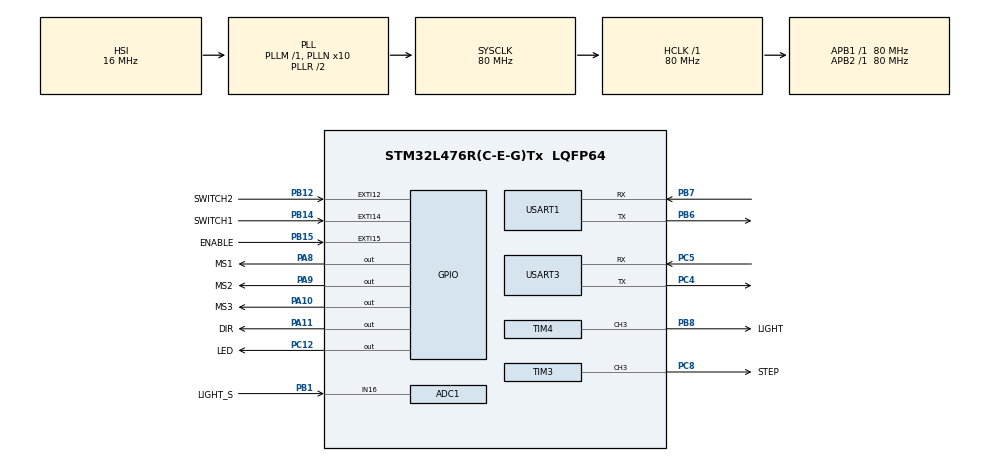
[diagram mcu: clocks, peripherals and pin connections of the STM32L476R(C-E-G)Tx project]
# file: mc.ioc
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ADC1.Channel-2\#ChannelRegularConversion=ADC_CHANNEL_16
ADC1.DMAContinuousRequests=ENABLE
ADC1.NbrOfConversionFlag=1
ADC1.OffsetNumber-2\#ChannelRegularConversion=ADC_OFFSET_NONE
ADC1.Rank-2\#ChannelRegularConversion=1
ADC1.SamplingTime-2\#ChannelRegularConversion=ADC_SAMPLETIME_2CYCLES_5
ADC1.master=1
Dma.ADC1.0.Direction=DMA_PERIPH_TO_MEMORY
Dma.ADC1.0.Instance=DMA1_Channel1
Dma.ADC1.0.MemDataAlignment=DMA_MDATAALIGN_HALFWORD
Dma.ADC1.0.MemInc=DMA_MINC_ENABLE
Dma.ADC1.0.Mode=DMA_CIRCULAR
Dma.ADC1.0.PeriphDataAlignment=DMA_PDATAALIGN_HALFWORD
Dma.ADC1.0.PeriphInc=DMA_PINC_DISABLE
Dma.ADC1.0.Priority=DMA_PRIORITY_LOW
Dma.Request0=ADC1
Mcu.Family=STM32L4
Mcu.Name=STM32L476R(C-E-G)Tx
Mcu.Package=LQFP64
NVIC.DMA1_Channel1_IRQn=true\:0\:0\:false\:false\:true\:false\:true\:true
NVIC.EXTI15_10_IRQn=true\:0\:0\:false\:false\:true\:true\:true\:true
NVIC.PriorityGroup=NVIC_PRIORITYGROUP_4
NVIC.TIM3_IRQn=true\:0\:0\:false\:false\:true\:true\:true\:true
NVIC.TIM5_IRQn=true\:0\:0\:false\:false\:true\:true\:true\:true
NVIC.TIM7_IRQn=true\:0\:0\:false\:false\:true\:true\:true\:true
NVIC.USART1_IRQn=true\:0\:0\:false\:false\:true\:true\:true\:true
PA10.GPIO_Label=MS3
PA10.Signal=GPIO_Output
PA11.GPIO_Label=DIR
PA11.Signal=GPIO_Output
PA13\ (JTMS-SWDIO).GPIO_Label=TMS
PA13\ (JTMS-SWDIO).Mode=Serial_Wire
PA13\ (JTMS-SWDIO).Signal=SYS_JTMS-SWDIO
PA14\ (JTCK-SWCLK).GPIO_Label=TCK
PA14\ (JTCK-SWCLK).Mode=Serial_Wire
PA14\ (JTCK-SWCLK).Signal=SYS_JTCK-SWCLK
PA8.GPIO_Label=MS1
PA8.Signal=GPIO_Output
PA9.GPIO_Label=MS2
PA9.Signal=GPIO_Output
PB1.GPIO_Label=LIGHT_S
PB1.Signal=ADCx_IN16
PB12.GPIO_Label=SWITCH2
PB12.GPIO_ModeDefaultEXTI=GPIO_MODE_IT_RISING
PB12.Signal=GPXTI12
PB14.GPIO_Label=SWITCH1
PB14.Signal=GPXTI14
PB15.GPIO_Label=ENABLE
PB15.GPIO_ModeDefaultEXTI=GPIO_MODE_IT_RISING
PB15.Signal=GPXTI15
PB3\ (JTDO-TRACESWO).GPIO_Label=SWO
PB3\ (JTDO-TRACESWO).Signal=SYS_JTDO-SWO
PB6.Mode=Asynchronous
PB6.Signal=USART1_TX
PB7.Mode=Asynchronous
PB7.Signal=USART1_RX
PB8.GPIO_Label=LIGHT
PB8.Signal=S_TIM4_CH3
PC12.GPIO_Label=LED
PC12.Signal=GPIO_Output
PC4.Mode=Asynchronous
PC4.Signal=USART3_TX
PC5.Mode=Asynchronous
PC5.Signal=USART3_RX
PC8.GPIO_Label=STEP
PC8.Signal=S_TIM3_CH3
PH0-OSC_IN\ (PH0).Signal=RCC_OSC_IN
PH1-OSC_OUT\ (PH1).Signal=RCC_OSC_OUT
ProjectManager.HeapSize=0x200
ProjectManager.StackSize=0x400
ProjectManager.TargetToolchain=STM32CubeIDE
RCC.ADCFreq_Value=64000000
RCC.AHBFreq_Value=80000000
RCC.APB1Freq_Value=80000000
RCC.APB1TimFreq_Value=80000000
RCC.APB2Freq_Value=80000000
RCC.APB2TimFreq_Value=80000000
RCC.CortexFreq_Value=80000000
RCC.HCLKFreq_Value=80000000
RCC.HSE_VALUE=8000000
RCC.HSI_VALUE=16000000
RCC.LSE_VALUE=32768
RCC.MSI_VALUE=4000000
RCC.PLLN=10
RCC.PLLSourceVirtual=RCC_PLLSOURCE_HSI
RCC.PREFETCH_ENABLE=1
RCC.SYSCLKFreq_VALUE=80000000
RCC.SYSCLKSource=RCC_SYSCLKSOURCE_PLLCLK
RCC.USBFreq_Value=64000000
RCC.VCOOutputFreq_Value=160000000
SH.ADCx_IN16.0=ADC1_IN16,IN16-Single-Ended
SH.S_TIM3_CH3.0=TIM3_CH3,PWM Generation3 CH3
SH.S_TIM4_CH3.0=TIM4_CH3,PWM Generation3 CH3
TIM3.Channel-PWM\ Generation3\ CH3=TIM_CHANNEL_3
TIM3.Period=4000-1
TIM3.Prescaler=79
TIM3.Pulse-PWM\ Generation3\ CH3=4000/2-1
TIM3.TIM_MasterOutputTrigger=TIM_TRGO_UPDATE
TIM4.Channel-PWM\ Generation3\ CH3=TIM_CHANNEL_3
TIM4.Period=2000-1
TIM4.Prescaler=79
TIM4.Pulse-PWM\ Generation3\ CH3=(2000-1) * 0.3
TIM5.Period=10000-1
TIM5.Prescaler=80-1
TIM5.TIM_MasterOutputTrigger=TIM_TRGO_UPDATE
TIM7.AutoReloadPreload=TIM_AUTORELOAD_PRELOAD_ENABLE
TIM7.Period=9
TIM7.Prescaler=8000-1
TIM7.TIM_MasterOutputTrigger=TIM_TRGO_UPDATE
USART1.VirtualMode-Asynchronous=VM_ASYNC
USART3.VirtualMode-Asynchronous=VM_ASYNC
VP_TIM3_VS_ClockSourceINT.Mode=Internal
VP_TIM5_VS_ClockSourceINT.Mode=Internal
VP_TIM7_VS_ClockSourceINT.Mode=Enable_Timer
VP_TIM7_VS_OPM.Mode=OPM_bit
board=NUCLEO-L476RG

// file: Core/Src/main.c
/* USER CODE BEGIN Header */
/**
  ******************************************************************************
  * @file           : main.c
  * @brief          : Main program body
  ******************************************************************************
  * @attention
  *
  * Copyright (c) 2023 STMicroelectronics.
  * All rights reserved.
  *
  * This software is licensed under terms that can be found in the LICENSE file
  * in the root directory of this software component.
  * If no LICENSE file comes with this software, it is provided AS-IS.
  *
  ******************************************************************************
  */
/* USER CODE END Header */
#include "main.h"

/* USER CODE BEGIN Includes */
#include <motor.h>
#include <packet.h>
#include <switch.h>
#include <led.h>
/* USER CODE END Includes */

ADC_HandleTypeDef hadc1;
DMA_HandleTypeDef hdma_adc1;

TIM_HandleTypeDef htim3;
TIM_HandleTypeDef htim4;
TIM_HandleTypeDef htim5;
TIM_HandleTypeDef htim7;

UART_HandleTypeDef huart1;
UART_HandleTypeDef huart3;

void SystemClock_Config(void);
static void MX_GPIO_Init(void);
static void MX_DMA_Init(void);
static void MX_TIM3_Init(void);
static void MX_USART3_UART_Init(void);
static void MX_USART1_UART_Init(void);
static void MX_ADC1_Init(void);
static void MX_TIM4_Init(void);
static void MX_TIM5_Init(void);
static void MX_TIM7_Init(void);

/* USER CODE BEGIN 0 */

static int triggered = 0;

void HAL_GPIO_EXTI_Callback(uint16_t GPIO_Pin)
{
    if(GPIO_Pin == SWITCH1_Pin ||
       GPIO_Pin == SWITCH2_Pin ||
       GPIO_Pin == ENABLE_Pin)
    {
        switch_event(GPIO_Pin);
    }
}

/* USER CODE END 0 */

int main(void)
{

  /* MCU Configuration--------------------------------------------------------*/

  /* Reset of all peripherals, Initializes the Flash interface and the Systick. */
  HAL_Init();

  /* Configure the system clock */
  SystemClock_Config();

  /* Initialize all configured peripherals */
  MX_GPIO_Init();
  MX_DMA_Init();
  MX_TIM3_Init();
  MX_USART3_UART_Init();
  MX_USART1_UART_Init();
  MX_ADC1_Init();
  MX_TIM4_Init();
  MX_TIM5_Init();
  MX_TIM7_Init();
  /* USER CODE BEGIN 2 */

    switch_init(&htim7);
    led_init(&htim4, LIGHT_PWM_CHANNEL, &htim5);
    led_sensor_init(&hadc1);

    motor_init(&htim3, MOTOR_PWM_CHANNEL);
    packet_init(&huart1);

  /* USER CODE END 2 */

  /* Infinite loop */
  /* USER CODE BEGIN WHILE */
  while (1)
  {
      packet_task(&huart1);

    /* USER CODE END WHILE */

  }
}

void SystemClock_Config(void)
{
  RCC_OscInitTypeDef RCC_OscInitStruct = {0};
  RCC_ClkInitTypeDef RCC_ClkInitStruct = {0};

  /** Configure the main internal regulator output voltage
  */
  if (HAL_PWREx_ControlVoltageScaling(PWR_REGULATOR_VOLTAGE_SCALE1) != HAL_OK)
  {
    Error_Handler();
  }

  /** Initializes the RCC Oscillators according to the specified parameters
  * in the RCC_OscInitTypeDef structure.
  */
  RCC_OscInitStruct.OscillatorType = RCC_OSCILLATORTYPE_HSI;
  RCC_OscInitStruct.HSIState = RCC_HSI_ON;
  RCC_OscInitStruct.HSICalibrationValue = RCC_HSICALIBRATION_DEFAULT;
  RCC_OscInitStruct.PLL.PLLState = RCC_PLL_ON;
  RCC_OscInitStruct.PLL.PLLSource = RCC_PLLSOURCE_HSI;
  RCC_OscInitStruct.PLL.PLLM = 1;
  RCC_OscInitStruct.PLL.PLLN = 10;
  RCC_OscInitStruct.PLL.PLLP = RCC_PLLP_DIV7;
  RCC_OscInitStruct.PLL.PLLQ = RCC_PLLQ_DIV2;
  RCC_OscInitStruct.PLL.PLLR = RCC_PLLR_DIV2;
  if (HAL_RCC_OscConfig(&RCC_OscInitStruct) != HAL_OK)
  {
    Error_Handler();
  }

  /** Initializes the CPU, AHB and APB buses clocks
  */
  RCC_ClkInitStruct.ClockType = RCC_CLOCKTYPE_HCLK|RCC_CLOCKTYPE_SYSCLK
                              |RCC_CLOCKTYPE_PCLK1|RCC_CLOCKTYPE_PCLK2;
  RCC_ClkInitStruct.SYSCLKSource = RCC_SYSCLKSOURCE_PLLCLK;
  RCC_ClkInitStruct.AHBCLKDivider = RCC_SYSCLK_DIV1;
  RCC_ClkInitStruct.APB1CLKDivider = RCC_HCLK_DIV1;
  RCC_ClkInitStruct.APB2CLKDivider = RCC_HCLK_DIV1;

  if (HAL_RCC_ClockConfig(&RCC_ClkInitStruct, FLASH_LATENCY_4) != HAL_OK)
  {
    Error_Handler();
  }
}

static void MX_ADC1_Init(void)
{

  ADC_MultiModeTypeDef multimode = {0};
  ADC_ChannelConfTypeDef sConfig = {0};

  /** Common config
  */
  hadc1.Instance = ADC1;
  hadc1.Init.ClockPrescaler = ADC_CLOCK_ASYNC_DIV1;
  hadc1.Init.Resolution = ADC_RESOLUTION_12B;
  hadc1.Init.DataAlign = ADC_DATAALIGN_RIGHT;
  hadc1.Init.ScanConvMode = ADC_SCAN_DISABLE;
  hadc1.Init.EOCSelection = ADC_EOC_SINGLE_CONV;
  hadc1.Init.LowPowerAutoWait = DISABLE;
  hadc1.Init.ContinuousConvMode = DISABLE;
  hadc1.Init.NbrOfConversion = 1;
  hadc1.Init.DiscontinuousConvMode = DISABLE;
  hadc1.Init.ExternalTrigConv = ADC_SOFTWARE_START;
  hadc1.Init.ExternalTrigConvEdge = ADC_EXTERNALTRIGCONVEDGE_NONE;
  hadc1.Init.DMAContinuousRequests = ENABLE;
  hadc1.Init.Overrun = ADC_OVR_DATA_PRESERVED;
  hadc1.Init.OversamplingMode = DISABLE;
  if (HAL_ADC_Init(&hadc1) != HAL_OK)
  {
    Error_Handler();
  }

  /** Configure the ADC multi-mode
  */
  multimode.Mode = ADC_MODE_INDEPENDENT;
  if (HAL_ADCEx_MultiModeConfigChannel(&hadc1, &multimode) != HAL_OK)
  {
    Error_Handler();
  }

  /** Configure Regular Channel
  */
  sConfig.Channel = ADC_CHANNEL_16;
  sConfig.Rank = ADC_REGULAR_RANK_1;
  sConfig.SamplingTime = ADC_SAMPLETIME_2CYCLES_5;
  sConfig.SingleDiff = ADC_SINGLE_ENDED;
  sConfig.OffsetNumber = ADC_OFFSET_NONE;
  sConfig.Offset = 0;
  if (HAL_ADC_ConfigChannel(&hadc1, &sConfig) != HAL_OK)
  {
    Error_Handler();
  }

}

static void MX_TIM3_Init(void)
{

  TIM_ClockConfigTypeDef sClockSourceConfig = {0};
  TIM_MasterConfigTypeDef sMasterConfig = {0};
  TIM_OC_InitTypeDef sConfigOC = {0};

  htim3.Instance = TIM3;
  htim3.Init.Prescaler = 79;
  htim3.Init.CounterMode = TIM_COUNTERMODE_UP;
  htim3.Init.Period = 4000-1;
  htim3.Init.ClockDivision = TIM_CLOCKDIVISION_DIV1;
  htim3.Init.AutoReloadPreload = TIM_AUTORELOAD_PRELOAD_DISABLE;
  if (HAL_TIM_Base_Init(&htim3) != HAL_OK)
  {
    Error_Handler();
  }
  sClockSourceConfig.ClockSource = TIM_CLOCKSOURCE_INTERNAL;
  if (HAL_TIM_ConfigClockSource(&htim3, &sClockSourceConfig) != HAL_OK)
  {
    Error_Handler();
  }
  if (HAL_TIM_PWM_Init(&htim3) != HAL_OK)
  {
    Error_Handler();
  }
  sMasterConfig.MasterOutputTrigger = TIM_TRGO_UPDATE;
  sMasterConfig.MasterSlaveMode = TIM_MASTERSLAVEMODE_DISABLE;
  if (HAL_TIMEx_MasterConfigSynchronization(&htim3, &sMasterConfig) != HAL_OK)
  {
    Error_Handler();
  }
  sConfigOC.OCMode = TIM_OCMODE_PWM1;
  sConfigOC.Pulse = 4000/2-1;
  sConfigOC.OCPolarity = TIM_OCPOLARITY_HIGH;
  sConfigOC.OCFastMode = TIM_OCFAST_DISABLE;
  if (HAL_TIM_PWM_ConfigChannel(&htim3, &sConfigOC, TIM_CHANNEL_3) != HAL_OK)
  {
    Error_Handler();
  }
  HAL_TIM_MspPostInit(&htim3);

}

static void MX_TIM4_Init(void)
{

  TIM_MasterConfigTypeDef sMasterConfig = {0};
  TIM_OC_InitTypeDef sConfigOC = {0};

  htim4.Instance = TIM4;
  htim4.Init.Prescaler = 79;
  htim4.Init.CounterMode = TIM_COUNTERMODE_UP;
  htim4.Init.Period = 2000-1;
  htim4.Init.ClockDivision = TIM_CLOCKDIVISION_DIV1;
  htim4.Init.AutoReloadPreload = TIM_AUTORELOAD_PRELOAD_DISABLE;
  if (HAL_TIM_PWM_Init(&htim4) != HAL_OK)
  {
    Error_Handler();
  }
  sMasterConfig.MasterOutputTrigger = TIM_TRGO_RESET;
  sMasterConfig.MasterSlaveMode = TIM_MASTERSLAVEMODE_DISABLE;
  if (HAL_TIMEx_MasterConfigSynchronization(&htim4, &sMasterConfig) != HAL_OK)
  {
    Error_Handler();
  }
  sConfigOC.OCMode = TIM_OCMODE_PWM1;
  sConfigOC.Pulse = (2000-1) * 0.3;
  sConfigOC.OCPolarity = TIM_OCPOLARITY_HIGH;
  sConfigOC.OCFastMode = TIM_OCFAST_DISABLE;
  if (HAL_TIM_PWM_ConfigChannel(&htim4, &sConfigOC, TIM_CHANNEL_3) != HAL_OK)
  {
    Error_Handler();
  }
  HAL_TIM_MspPostInit(&htim4);

}

static void MX_TIM5_Init(void)
{

  TIM_ClockConfigTypeDef sClockSourceConfig = {0};
  TIM_MasterConfigTypeDef sMasterConfig = {0};

  htim5.Instance = TIM5;
  htim5.Init.Prescaler = 80-1;
  htim5.Init.CounterMode = TIM_COUNTERMODE_UP;
  htim5.Init.Period = 10000-1;
  htim5.Init.ClockDivision = TIM_CLOCKDIVISION_DIV1;
  htim5.Init.AutoReloadPreload = TIM_AUTORELOAD_PRELOAD_DISABLE;
  if (HAL_TIM_Base_Init(&htim5) != HAL_OK)
  {
    Error_Handler();
  }
  sClockSourceConfig.ClockSource = TIM_CLOCKSOURCE_INTERNAL;
  if (HAL_TIM_ConfigClockSource(&htim5, &sClockSourceConfig) != HAL_OK)
  {
    Error_Handler();
  }
  sMasterConfig.MasterOutputTrigger = TIM_TRGO_UPDATE;
  sMasterConfig.MasterSlaveMode = TIM_MASTERSLAVEMODE_DISABLE;
  if (HAL_TIMEx_MasterConfigSynchronization(&htim5, &sMasterConfig) != HAL_OK)
  {
    Error_Handler();
  }

}

static void MX_TIM7_Init(void)
{

  TIM_MasterConfigTypeDef sMasterConfig = {0};

  htim7.Instance = TIM7;
  htim7.Init.Prescaler = 8000-1;
  htim7.Init.CounterMode = TIM_COUNTERMODE_UP;
  htim7.Init.Period = 9;
  htim7.Init.AutoReloadPreload = TIM_AUTORELOAD_PRELOAD_ENABLE;
  if (HAL_TIM_Base_Init(&htim7) != HAL_OK)
  {
    Error_Handler();
  }
  if (HAL_TIM_OnePulse_Init(&htim7, TIM_OPMODE_SINGLE) != HAL_OK)
  {
    Error_Handler();
  }
  sMasterConfig.MasterOutputTrigger = TIM_TRGO_UPDATE;
  sMasterConfig.MasterSlaveMode = TIM_MASTERSLAVEMODE_DISABLE;
  if (HAL_TIMEx_MasterConfigSynchronization(&htim7, &sMasterConfig) != HAL_OK)
  {
    Error_Handler();
  }

}

static void MX_USART1_UART_Init(void)
{

  huart1.Instance = USART1;
  huart1.Init.BaudRate = 115200;
  huart1.Init.WordLength = UART_WORDLENGTH_8B;
  huart1.Init.StopBits = UART_STOPBITS_1;
  huart1.Init.Parity = UART_PARITY_NONE;
  huart1.Init.Mode = UART_MODE_TX_RX;
  huart1.Init.HwFlowCtl = UART_HWCONTROL_NONE;
  huart1.Init.OverSampling = UART_OVERSAMPLING_16;
  huart1.Init.OneBitSampling = UART_ONE_BIT_SAMPLE_DISABLE;
  huart1.AdvancedInit.AdvFeatureInit = UART_ADVFEATURE_NO_INIT;
  if (HAL_UART_Init(&huart1) != HAL_OK)
  {
    Error_Handler();
  }

}

static void MX_USART3_UART_Init(void)
{

  huart3.Instance = USART3;
  huart3.Init.BaudRate = 115200;
  huart3.Init.WordLength = UART_WORDLENGTH_8B;
  huart3.Init.StopBits = UART_STOPBITS_1;
  huart3.Init.Parity = UART_PARITY_NONE;
  huart3.Init.Mode = UART_MODE_TX_RX;
  huart3.Init.HwFlowCtl = UART_HWCONTROL_NONE;
  huart3.Init.OverSampling = UART_OVERSAMPLING_16;
  huart3.Init.OneBitSampling = UART_ONE_BIT_SAMPLE_DISABLE;
  huart3.AdvancedInit.AdvFeatureInit = UART_ADVFEATURE_NO_INIT;
  if (HAL_UART_Init(&huart3) != HAL_OK)
  {
    Error_Handler();
  }

}

static void MX_DMA_Init(void)
{

  /* DMA controller clock enable */
  __HAL_RCC_DMA1_CLK_ENABLE();

  /* DMA interrupt init */
  /* DMA1_Channel1_IRQn interrupt configuration */
  HAL_NVIC_SetPriority(DMA1_Channel1_IRQn, 0, 0);
  HAL_NVIC_EnableIRQ(DMA1_Channel1_IRQn);

}

static void MX_GPIO_Init(void)
{
  GPIO_InitTypeDef GPIO_InitStruct = {0};

  /* GPIO Ports Clock Enable */
  __HAL_RCC_GPIOH_CLK_ENABLE();
  __HAL_RCC_GPIOC_CLK_ENABLE();
  __HAL_RCC_GPIOB_CLK_ENABLE();
  __HAL_RCC_GPIOA_CLK_ENABLE();

  /*Configure GPIO pin Output Level */
  HAL_GPIO_WritePin(GPIOA, MS1_Pin|MS2_Pin|MS3_Pin|DIR_Pin, GPIO_PIN_RESET);

  /*Configure GPIO pin Output Level */
  HAL_GPIO_WritePin(LED_GPIO_Port, LED_Pin, GPIO_PIN_RESET);

  /*Configure GPIO pins : SWITCH2_Pin SWITCH1_Pin ENABLE_Pin */
  GPIO_InitStruct.Pin = SWITCH2_Pin|SWITCH1_Pin|ENABLE_Pin;
  GPIO_InitStruct.Mode = GPIO_MODE_IT_RISING;
  GPIO_InitStruct.Pull = GPIO_NOPULL;
  HAL_GPIO_Init(GPIOB, &GPIO_InitStruct);

  /*Configure GPIO pins : MS1_Pin MS2_Pin MS3_Pin DIR_Pin */
  GPIO_InitStruct.Pin = MS1_Pin|MS2_Pin|MS3_Pin|DIR_Pin;
  GPIO_InitStruct.Mode = GPIO_MODE_OUTPUT_PP;
  GPIO_InitStruct.Pull = GPIO_NOPULL;
  GPIO_InitStruct.Speed = GPIO_SPEED_FREQ_LOW;
  HAL_GPIO_Init(GPIOA, &GPIO_InitStruct);

  /*Configure GPIO pin : LED_Pin */
  GPIO_InitStruct.Pin = LED_Pin;
  GPIO_InitStruct.Mode = GPIO_MODE_OUTPUT_PP;
  GPIO_InitStruct.Pull = GPIO_NOPULL;
  GPIO_InitStruct.Speed = GPIO_SPEED_FREQ_LOW;
  HAL_GPIO_Init(LED_GPIO_Port, &GPIO_InitStruct);

  /* EXTI interrupt init*/
  HAL_NVIC_SetPriority(EXTI15_10_IRQn, 0, 0);
  HAL_NVIC_EnableIRQ(EXTI15_10_IRQn);

}

void Error_Handler(void)
{
  __disable_irq();
  while (1)
  {
  }
}
